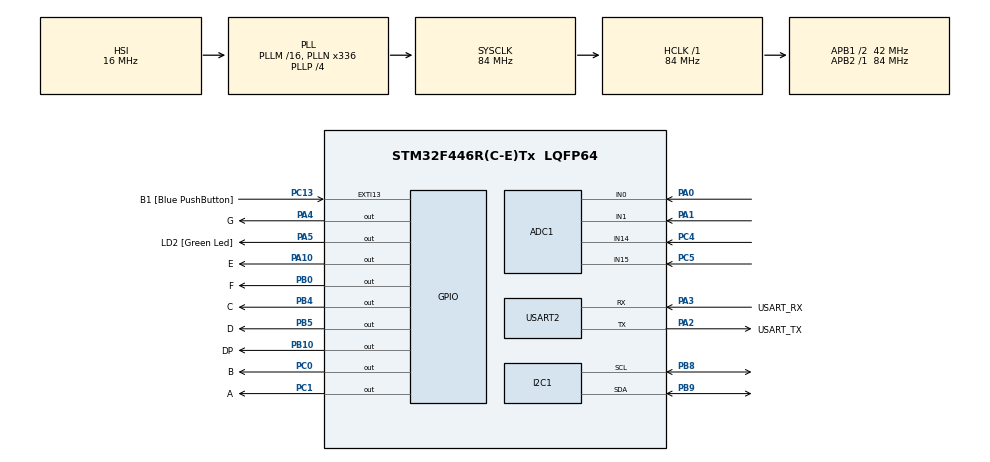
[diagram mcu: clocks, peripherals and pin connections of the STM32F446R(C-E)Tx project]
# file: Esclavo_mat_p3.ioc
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ADC1.Channel-0\#ChannelRegularConversion=ADC_CHANNEL_0
ADC1.Channel-1\#ChannelRegularConversion=ADC_CHANNEL_1
ADC1.Channel-2\#ChannelRegularConversion=ADC_CHANNEL_14
ADC1.Channel-3\#ChannelRegularConversion=ADC_CHANNEL_15
ADC1.NbrOfConversion=4
ADC1.NbrOfConversionFlag=1
ADC1.Rank-0\#ChannelRegularConversion=1
ADC1.Rank-1\#ChannelRegularConversion=2
ADC1.Rank-2\#ChannelRegularConversion=3
ADC1.Rank-3\#ChannelRegularConversion=4
ADC1.SamplingTime-0\#ChannelRegularConversion=ADC_SAMPLETIME_3CYCLES
ADC1.SamplingTime-1\#ChannelRegularConversion=ADC_SAMPLETIME_3CYCLES
ADC1.SamplingTime-2\#ChannelRegularConversion=ADC_SAMPLETIME_3CYCLES
ADC1.SamplingTime-3\#ChannelRegularConversion=ADC_SAMPLETIME_3CYCLES
ADC1.master=1
Dma.ADC1.0.Direction=DMA_PERIPH_TO_MEMORY
Dma.ADC1.0.FIFOMode=DMA_FIFOMODE_DISABLE
Dma.ADC1.0.Instance=DMA2_Stream0
Dma.ADC1.0.MemDataAlignment=DMA_MDATAALIGN_HALFWORD
Dma.ADC1.0.MemInc=DMA_MINC_ENABLE
Dma.ADC1.0.Mode=DMA_NORMAL
Dma.ADC1.0.PeriphDataAlignment=DMA_PDATAALIGN_HALFWORD
Dma.ADC1.0.PeriphInc=DMA_PINC_DISABLE
Dma.ADC1.0.Priority=DMA_PRIORITY_LOW
Dma.Request0=ADC1
I2C1.OwnAddress=0x18
Mcu.Family=STM32F4
Mcu.Name=STM32F446R(C-E)Tx
Mcu.Package=LQFP64
NVIC.DMA2_Stream0_IRQn=true\:0\:0\:false\:false\:true\:false\:true\:true
NVIC.I2C1_ER_IRQn=true\:0\:0\:false\:false\:true\:true\:true\:true
NVIC.I2C1_EV_IRQn=true\:0\:0\:false\:false\:true\:true\:true\:true
NVIC.PriorityGroup=NVIC_PRIORITYGROUP_0
PA0-WKUP.Signal=ADCx_IN0
PA1.Signal=ADCx_IN1
PA10.GPIO_Label=E
PA10.Signal=GPIO_Output
PA13.GPIO_Label=TMS
PA13.Mode=Serial_Wire
PA13.Signal=SYS_JTMS-SWDIO
PA14.GPIO_Label=TCK
PA14.Mode=Serial_Wire
PA14.Signal=SYS_JTCK-SWCLK
PA2.GPIO_Label=USART_TX
PA2.Mode=Asynchronous
PA2.Signal=USART2_TX
PA3.GPIO_Label=USART_RX
PA3.Mode=Asynchronous
PA3.Signal=USART2_RX
PA4.GPIO_Label=G
PA4.Signal=GPIO_Output
PA5.GPIO_Label=LD2 [Green Led]
PA5.GPIO_PuPd=GPIO_NOPULL
PA5.Signal=GPIO_Output
PB0.GPIO_Label=F
PB0.Signal=GPIO_Output
PB10.GPIO_Label=DP
PB10.Signal=GPIO_Output
PB3.GPIO_Label=SWO
PB3.Signal=SYS_JTDO-SWO
PB4.GPIO_Label=C
PB4.Signal=GPIO_Output
PB5.GPIO_Label=D
PB5.Signal=GPIO_Output
PB8.GPIO_Pu=GPIO_PULLUP
PB8.Mode=I2C
PB8.Signal=I2C1_SCL
PB9.GPIO_Pu=GPIO_PULLUP
PB9.Mode=I2C
PB9.Signal=I2C1_SDA
PC0.GPIO_Label=B
PC0.Signal=GPIO_Output
PC1.GPIO_Label=A
PC1.Signal=GPIO_Output
PC13.GPIO_Label=B1 [Blue PushButton]
PC13.GPIO_ModeDefaultEXTI=GPIO_MODE_IT_FALLING
PC13.Signal=GPXTI13
PC14-OSC32_IN.Mode=LSE-External-Oscillator
PC14-OSC32_IN.Signal=RCC_OSC32_IN
PC15-OSC32_OUT.Mode=LSE-External-Oscillator
PC15-OSC32_OUT.Signal=RCC_OSC32_OUT
PC4.Signal=ADCx_IN14
PC5.Signal=ADCx_IN15
PH0-OSC_IN.Mode=HSE-External-Oscillator
PH0-OSC_IN.Signal=RCC_OSC_IN
PH1-OSC_OUT.Mode=HSE-External-Oscillator
PH1-OSC_OUT.Signal=RCC_OSC_OUT
ProjectManager.HeapSize=0x200
ProjectManager.StackSize=0x400
ProjectManager.TargetToolchain=STM32CubeIDE
RCC.48MHZClocksFreq_Value=84000000
RCC.AHBFreq_Value=84000000
RCC.APB1CLKDivider=RCC_HCLK_DIV2
RCC.APB1Freq_Value=42000000
RCC.APB1TimFreq_Value=84000000
RCC.APB2Freq_Value=84000000
RCC.APB2TimFreq_Value=84000000
RCC.CortexFreq_Value=84000000
RCC.FLatency-AdvancedSettings=FLASH_LATENCY_2
RCC.HCLKFreq_Value=84000000
RCC.HSE_VALUE=8000000
RCC.HSI_VALUE=16000000
RCC.PLLN=336
RCC.PLLP=RCC_PLLP_DIV4
RCC.SYSCLKFreq_VALUE=84000000
RCC.SYSCLKSource=RCC_SYSCLKSOURCE_PLLCLK
RCC.USBFreq_Value=168000000
RCC.VCOOutputFreq_Value=336000000
SH.ADCx_IN0.0=ADC1_IN0,IN0
SH.ADCx_IN1.0=ADC1_IN1,IN1
SH.ADCx_IN14.0=ADC1_IN14,IN14
SH.ADCx_IN15.0=ADC1_IN15,IN15
USART2.VirtualMode=VM_ASYNC
board=NUCLEO-F446RE

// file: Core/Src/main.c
/* USER CODE BEGIN Header */
/**
  ******************************************************************************
  * @file           : main.c
  * @brief          : Main program body
  ******************************************************************************
  * @attention
  *
  * Copyright (c) 2026 STMicroelectronics.
  * All rights reserved.
  *
  * This software is licensed under terms that can be found in the LICENSE file
  * in the root directory of this software component.
  * If no LICENSE file comes with this software, it is provided AS-IS.
  *
  ******************************************************************************
  */
/* USER CODE END Header */
#include "main.h"

/* USER CODE BEGIN PD */
#define TXBUFFERSIZE 4
#define RXBUFFERSIZE 4
#define valor_LDR  3000
/* USER CODE END PD */

ADC_HandleTypeDef hadc1;
DMA_HandleTypeDef hdma_adc1;

I2C_HandleTypeDef hi2c1;

UART_HandleTypeDef huart2;

/* USER CODE BEGIN PV */
int cont = 0;
uint8_t aTxBuffer[TXBUFFERSIZE];
uint8_t aRxBuffer[RXBUFFERSIZE];
uint16_t adcValor[4];
/* USER CODE END PV */

void SystemClock_Config(void);
static void MX_GPIO_Init(void);
static void MX_DMA_Init(void);
static void MX_ADC1_Init(void);
static void MX_I2C1_Init(void);
static void MX_USART2_UART_Init(void);

/* USER CODE BEGIN 0 */
void Display_Number(uint8_t num)
{
    // Segmentos: A  B  C  D  E  F  G
    // 0 = A,B,C,D,E,F     → G apagado
    // 1 = B,C
    // 2 = A,B,D,E,G
    // 3 = A,B,C,D,G
    // 4 = B,C,F,G
    // 5 = A,C,D,F,G
    // 6 = A,C,D,E,F,G
    // 7 = A,B,C
    // 8 = A,B,C,D,E,F,G   → todos encendidos

    // Tabla: {A, B, C, D, E, F, G}
    const uint8_t segments[9][7] = {
        {1, 1, 1, 1, 1, 1, 0},  // 0
        {0, 1, 1, 0, 0, 0, 0},  // 1
        {1, 1, 0, 1, 1, 0, 1},  // 2
        {1, 1, 1, 1, 0, 0, 1},  // 3
        {0, 1, 1, 0, 0, 1, 1},  // 4
        {1, 0, 1, 1, 0, 1, 1},  // 5
        {1, 0, 1, 1, 1, 1, 1},  // 6
        {1, 1, 1, 0, 0, 0, 0},  // 7
        {1, 1, 1, 1, 1, 1, 1},  // 8
    };

    if (num > 8) return;

    HAL_GPIO_WritePin(GPIOC, A_Pin, segments[num][0] ? GPIO_PIN_SET : GPIO_PIN_RESET);
    HAL_GPIO_WritePin(GPIOC, B_Pin, segments[num][1] ? GPIO_PIN_SET : GPIO_PIN_RESET);
    HAL_GPIO_WritePin(GPIOB, C_Pin, segments[num][2] ? GPIO_PIN_SET : GPIO_PIN_RESET);
    HAL_GPIO_WritePin(GPIOB, D_Pin, segments[num][3] ? GPIO_PIN_SET : GPIO_PIN_RESET);
    HAL_GPIO_WritePin(GPIOA, E_Pin, segments[num][4] ? GPIO_PIN_SET : GPIO_PIN_RESET);
    HAL_GPIO_WritePin(GPIOB, F_Pin, segments[num][5] ? GPIO_PIN_SET : GPIO_PIN_RESET);
    HAL_GPIO_WritePin(GPIOA, G_Pin, segments[num][6] ? GPIO_PIN_SET : GPIO_PIN_RESET);
}
/* USER CODE END 0 */

int main(void)
{

  /* MCU Configuration--------------------------------------------------------*/

  /* Reset of all peripherals, Initializes the Flash interface and the Systick. */
  HAL_Init();

  /* Configure the system clock */
  SystemClock_Config();

  /* Initialize all configured peripherals */
  MX_GPIO_Init();
  MX_DMA_Init();
  MX_ADC1_Init();
  MX_I2C1_Init();
  MX_USART2_UART_Init();
  /* USER CODE BEGIN 2 */
  if (HAL_I2C_EnableListen_IT(&hi2c1) != HAL_OK){
	  Error_Handler();
  }
  HAL_ADC_Start_DMA(&hadc1, (uint32_t *)adcValor, 4);
  /* USER CODE END 2 */

  /* Infinite loop */
  /* USER CODE BEGIN WHILE */
  while (1)
  {
	  // ----------- despliego el numero de parqueos libres que recibo por i2c
	  if (aRxBuffer[0] == '0'){
		  Display_Number(0);
	  } else if (aRxBuffer[0] == '1'){
		  Display_Number(1);
	  }else if (aRxBuffer[0] == '2'){
		  Display_Number(2);
	  }else if (aRxBuffer[0] == '3'){
		  Display_Number(3);
	  }else if (aRxBuffer[0] == '5'){
		  Display_Number(5);
	  }else if (aRxBuffer[0] == '6'){
		  Display_Number(6);
	  }else if (aRxBuffer[0] == '7'){
		  Display_Number(7);
	  }else if (aRxBuffer[0] == '8'){
		  Display_Number(8);
	  }else if (aRxBuffer[0] == '4'){
		  Display_Number(4);
	  }
	  //---------------------------------------------
	  if (adcValor[0] <= valor_LDR) {
		  aTxBuffer[0] = 'o';
	  } else {
		  aTxBuffer[0] = 'l';
	  }

	  // --- Sensor 2 → Espacio 2 ---
	  if (adcValor[1] <= valor_LDR) {
		  aTxBuffer[1] = 'o';
	  } else {
		  aTxBuffer[1] = 'l';
	  }

	  // --- Sensor 3 → Espacio 3 ---
	  if (adcValor[2] <= valor_LDR) {
		  aTxBuffer[2] = 'o';
	  } else {
		  aTxBuffer[2] = 'l';
	  }

	  // --- Sensor 4 → Espacio 4 ---
	  if (adcValor[3] <= valor_LDR) {
		  aTxBuffer[3] = 'o';
	  } else {
		  aTxBuffer[3] = 'l';
	  }
    /* USER CODE END WHILE */

  }
}

void SystemClock_Config(void)
{
  RCC_OscInitTypeDef RCC_OscInitStruct = {0};
  RCC_ClkInitTypeDef RCC_ClkInitStruct = {0};

  /** Configure the main internal regulator output voltage
  */
  __HAL_RCC_PWR_CLK_ENABLE();
  __HAL_PWR_VOLTAGESCALING_CONFIG(PWR_REGULATOR_VOLTAGE_SCALE3);

  /** Initializes the RCC Oscillators according to the specified parameters
  * in the RCC_OscInitTypeDef structure.
  */
  RCC_OscInitStruct.OscillatorType = RCC_OSCILLATORTYPE_HSI;
  RCC_OscInitStruct.HSIState = RCC_HSI_ON;
  RCC_OscInitStruct.HSICalibrationValue = RCC_HSICALIBRATION_DEFAULT;
  RCC_OscInitStruct.PLL.PLLState = RCC_PLL_ON;
  RCC_OscInitStruct.PLL.PLLSource = RCC_PLLSOURCE_HSI;
  RCC_OscInitStruct.PLL.PLLM = 16;
  RCC_OscInitStruct.PLL.PLLN = 336;
  RCC_OscInitStruct.PLL.PLLP = RCC_PLLP_DIV4;
  RCC_OscInitStruct.PLL.PLLQ = 2;
  RCC_OscInitStruct.PLL.PLLR = 2;
  if (HAL_RCC_OscConfig(&RCC_OscInitStruct) != HAL_OK)
  {
    Error_Handler();
  }

  /** Initializes the CPU, AHB and APB buses clocks
  */
  RCC_ClkInitStruct.ClockType = RCC_CLOCKTYPE_HCLK|RCC_CLOCKTYPE_SYSCLK
                              |RCC_CLOCKTYPE_PCLK1|RCC_CLOCKTYPE_PCLK2;
  RCC_ClkInitStruct.SYSCLKSource = RCC_SYSCLKSOURCE_PLLCLK;
  RCC_ClkInitStruct.AHBCLKDivider = RCC_SYSCLK_DIV1;
  RCC_ClkInitStruct.APB1CLKDivider = RCC_HCLK_DIV2;
  RCC_ClkInitStruct.APB2CLKDivider = RCC_HCLK_DIV1;

  if (HAL_RCC_ClockConfig(&RCC_ClkInitStruct, FLASH_LATENCY_2) != HAL_OK)
  {
    Error_Handler();
  }
}

static void MX_ADC1_Init(void)
{

  ADC_ChannelConfTypeDef sConfig = {0};

  /** Configure the global features of the ADC (Clock, Resolution, Data Alignment and number of conversion)
  */
  hadc1.Instance = ADC1;
  hadc1.Init.ClockPrescaler = ADC_CLOCK_SYNC_PCLK_DIV4;
  hadc1.Init.Resolution = ADC_RESOLUTION_12B;
  hadc1.Init.ScanConvMode = ENABLE;
  hadc1.Init.ContinuousConvMode = DISABLE;
  hadc1.Init.DiscontinuousConvMode = DISABLE;
  hadc1.Init.ExternalTrigConvEdge = ADC_EXTERNALTRIGCONVEDGE_NONE;
  hadc1.Init.ExternalTrigConv = ADC_SOFTWARE_START;
  hadc1.Init.DataAlign = ADC_DATAALIGN_RIGHT;
  hadc1.Init.NbrOfConversion = 4;
  hadc1.Init.DMAContinuousRequests = DISABLE;
  hadc1.Init.EOCSelection = ADC_EOC_SINGLE_CONV;
  if (HAL_ADC_Init(&hadc1) != HAL_OK)
  {
    Error_Handler();
  }

  /** Configure for the selected ADC regular channel its corresponding rank in the sequencer and its sample time.
  */
  sConfig.Channel = ADC_CHANNEL_0;
  sConfig.Rank = 1;
  sConfig.SamplingTime = ADC_SAMPLETIME_3CYCLES;
  if (HAL_ADC_ConfigChannel(&hadc1, &sConfig) != HAL_OK)
  {
    Error_Handler();
  }

  /** Configure for the selected ADC regular channel its corresponding rank in the sequencer and its sample time.
  */
  sConfig.Channel = ADC_CHANNEL_1;
  sConfig.Rank = 2;
  if (HAL_ADC_ConfigChannel(&hadc1, &sConfig) != HAL_OK)
  {
    Error_Handler();
  }

  /** Configure for the selected ADC regular channel its corresponding rank in the sequencer and its sample time.
  */
  sConfig.Channel = ADC_CHANNEL_14;
  sConfig.Rank = 3;
  if (HAL_ADC_ConfigChannel(&hadc1, &sConfig) != HAL_OK)
  {
    Error_Handler();
  }

  /** Configure for the selected ADC regular channel its corresponding rank in the sequencer and its sample time.
  */
  sConfig.Channel = ADC_CHANNEL_15;
  sConfig.Rank = 4;
  if (HAL_ADC_ConfigChannel(&hadc1, &sConfig) != HAL_OK)
  {
    Error_Handler();
  }

}

static void MX_I2C1_Init(void)
{

  hi2c1.Instance = I2C1;
  hi2c1.Init.ClockSpeed = 100000;
  hi2c1.Init.DutyCycle = I2C_DUTYCYCLE_2;
  hi2c1.Init.OwnAddress1 = 48;
  hi2c1.Init.AddressingMode = I2C_ADDRESSINGMODE_7BIT;
  hi2c1.Init.DualAddressMode = I2C_DUALADDRESS_DISABLE;
  hi2c1.Init.OwnAddress2 = 0;
  hi2c1.Init.GeneralCallMode = I2C_GENERALCALL_DISABLE;
  hi2c1.Init.NoStretchMode = I2C_NOSTRETCH_DISABLE;
  if (HAL_I2C_Init(&hi2c1) != HAL_OK)
  {
    Error_Handler();
  }

}

static void MX_USART2_UART_Init(void)
{

  huart2.Instance = USART2;
  huart2.Init.BaudRate = 115200;
  huart2.Init.WordLength = UART_WORDLENGTH_8B;
  huart2.Init.StopBits = UART_STOPBITS_1;
  huart2.Init.Parity = UART_PARITY_NONE;
  huart2.Init.Mode = UART_MODE_TX_RX;
  huart2.Init.HwFlowCtl = UART_HWCONTROL_NONE;
  huart2.Init.OverSampling = UART_OVERSAMPLING_16;
  if (HAL_UART_Init(&huart2) != HAL_OK)
  {
    Error_Handler();
  }

}

static void MX_DMA_Init(void)
{

  /* DMA controller clock enable */
  __HAL_RCC_DMA2_CLK_ENABLE();

  /* DMA interrupt init */
  /* DMA2_Stream0_IRQn interrupt configuration */
  HAL_NVIC_SetPriority(DMA2_Stream0_IRQn, 0, 0);
  HAL_NVIC_EnableIRQ(DMA2_Stream0_IRQn);

}

static void MX_GPIO_Init(void)
{
  GPIO_InitTypeDef GPIO_InitStruct = {0};

  /* GPIO Ports Clock Enable */
  __HAL_RCC_GPIOC_CLK_ENABLE();
  __HAL_RCC_GPIOH_CLK_ENABLE();
  __HAL_RCC_GPIOA_CLK_ENABLE();
  __HAL_RCC_GPIOB_CLK_ENABLE();

  /*Configure GPIO pin Output Level */
  HAL_GPIO_WritePin(GPIOC, B_Pin|A_Pin, GPIO_PIN_RESET);

  /*Configure GPIO pin Output Level */
  HAL_GPIO_WritePin(GPIOA, G_Pin|LD2_Pin|E_Pin, GPIO_PIN_RESET);

  /*Configure GPIO pin Output Level */
  HAL_GPIO_WritePin(GPIOB, F_Pin|DP_Pin|C_Pin|D_Pin, GPIO_PIN_RESET);

  /*Configure GPIO pin : B1_Pin */
  GPIO_InitStruct.Pin = B1_Pin;
  GPIO_InitStruct.Mode = GPIO_MODE_IT_FALLING;
  GPIO_InitStruct.Pull = GPIO_NOPULL;
  HAL_GPIO_Init(B1_GPIO_Port, &GPIO_InitStruct);

  /*Configure GPIO pins : B_Pin A_Pin */
  GPIO_InitStruct.Pin = B_Pin|A_Pin;
  GPIO_InitStruct.Mode = GPIO_MODE_OUTPUT_PP;
  GPIO_InitStruct.Pull = GPIO_NOPULL;
  GPIO_InitStruct.Speed = GPIO_SPEED_FREQ_LOW;
  HAL_GPIO_Init(GPIOC, &GPIO_InitStruct);

  /*Configure GPIO pins : G_Pin LD2_Pin E_Pin */
  GPIO_InitStruct.Pin = G_Pin|LD2_Pin|E_Pin;
  GPIO_InitStruct.Mode = GPIO_MODE_OUTPUT_PP;
  GPIO_InitStruct.Pull = GPIO_NOPULL;
  GPIO_InitStruct.Speed = GPIO_SPEED_FREQ_LOW;
  HAL_GPIO_Init(GPIOA, &GPIO_InitStruct);

  /*Configure GPIO pins : F_Pin DP_Pin C_Pin D_Pin */
  GPIO_InitStruct.Pin = F_Pin|DP_Pin|C_Pin|D_Pin;
  GPIO_InitStruct.Mode = GPIO_MODE_OUTPUT_PP;
  GPIO_InitStruct.Pull = GPIO_NOPULL;
  GPIO_InitStruct.Speed = GPIO_SPEED_FREQ_LOW;
  HAL_GPIO_Init(GPIOB, &GPIO_InitStruct);

}

/* USER CODE BEGIN 4 */
void HAL_I2C_ListenCpltCallback(I2C_HandleTypeDef *hi2c){
	HAL_I2C_EnableListen_IT(&hi2c1);
}
void HAL_I2C_AddrCallback(I2C_HandleTypeDef *hi2c, uint8_t TransferDirection, uint16_t AddrMatchCode){
	if (TransferDirection == I2C_DIRECTION_TRANSMIT){
		if (HAL_I2C_Slave_Seq_Receive_IT(hi2c, (uint8_t *)aRxBuffer, 4,I2C_FIRST_AND_LAST_FRAME)!= HAL_OK){
			// el 1 indica la cantidad de bytes que voy a recibir. Lo puedo cambiar si mandamos mas
			Error_Handler();
		}
	} else if(TransferDirection == I2C_DIRECTION_RECEIVE){
		if (HAL_I2C_Slave_Seq_Transmit_IT(hi2c, (uint8_t *)aTxBuffer, 4,I2C_FIRST_AND_LAST_FRAME)!= HAL_OK){
			Error_Handler();
		}
	}
}
void HAL_I2C_SlaveRxCpltCallback(I2C_HandleTypeDef *I2cHandle){
	// aca reviso lo que recibi en aRxBuffer
	//hay que limpiar el buffer aRxBuffer = 0;

}
void HAL_I2C_ErrorCallback(I2C_HandleTypeDef *I2cHandle){
	if(HAL_I2C_GetError(I2cHandle) != HAL_I2C_ERROR_AF){
		Error_Handler();
	}
}
void HAL_I2C_SlaveTxCpltCallback(I2C_HandleTypeDef *I2cHandle){
	//aca ya se completo el envio y puedo cambiar la variable de envio
	/*
	aTxBuffer[0]++;
	aTxBuffer[1]++;
	aTxBuffer[2]++;
	aTxBuffer[3]++;

	*/

}

void HAL_ADC_ConvCpltCallback(ADC_HandleTypeDef* hadc)
{
    if(hadc->Instance == ADC1)
    {
        HAL_ADC_Start_DMA(&hadc1, (uint32_t*)adcValor, 4);
    }
}
/* USER CODE END 4 */

void Error_Handler(void)
{
  __disable_irq();
  while (1)
  {
  }
}
